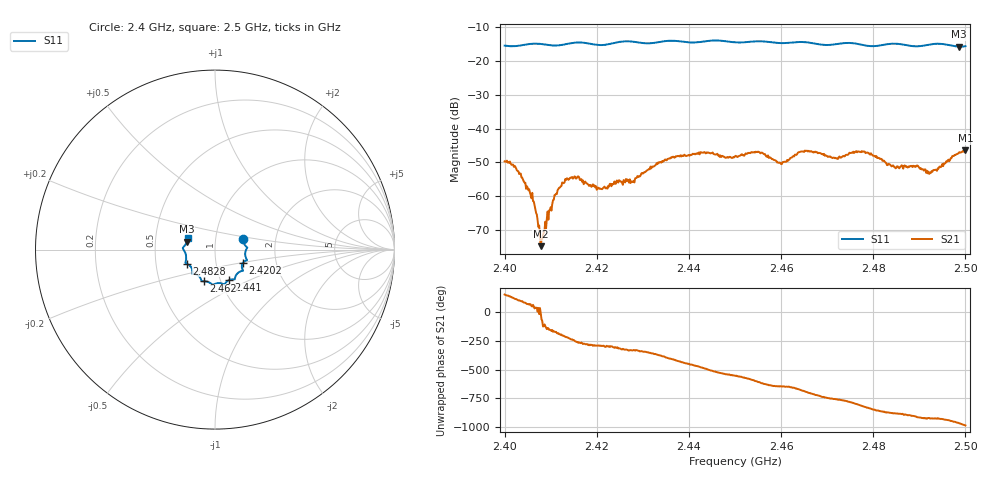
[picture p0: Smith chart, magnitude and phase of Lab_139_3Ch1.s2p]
# Hz S RI R 50
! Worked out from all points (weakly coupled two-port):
!   601 points, 2.4 GHz to 2.5 GHz, reference 50 ohm
!   highest |S21| = -46.41 dB at 2.5 GHz (marker M1); lowest = -74.7 dB at 2.4078 GHz (marker M2)
!   lowest |S11| = -15.8 dB at 2.4987 GHz (marker M3), VSWR 1.39, Z = 36.3 + j3.24 ohm
!   |S11| at or under -10 dB: start of sweep to end of sweep
!   S12 and S22 are empty: the file has one direction only
!   S11 on the Smith chart (normalised r, x): 2.4 GHz: 1.36, +0.17; 2.4202 GHz: 1.36, -0.20; 2.441 GHz: 1.10, -0.39; 2.462 GHz: 0.83, -0.30; 2.4828 GHz: 0.72, -0.12; 2.5 GHz: 0.73, +0.09
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2.4e9  0.1572 0.061  -0.00298 0.00138  0 0  0 0
2.402333e9  0.1622 0.0334  -0.00117 0.00246  0 0  0 0
2.4055e9  0.1779 0.0136  0.000362 0.00108  0 0  0 0
2.4065e9  0.1798 0.0117  0.000615 0.000413  0 0  0 0
2.407833e9  0.1783 0.00799  0.000183 -1.79e-05  0 0  0 0
2.412e9  0.1683 -0.0298  -0.00132 0.000287  0 0  0 0
2.414e9  0.1739 -0.0495  -0.0012 0.00132  0 0  0 0
2.416667e9  0.1775 -0.0592  -0.000151 0.00179  0 0  0 0
2.420167e9  0.1569 -0.0719  0.000495 0.00125  0 0  0 0
2.427833e9  0.1521 -0.1183  0.00144 0.000743  0 0  0 0
2.433333e9  0.1129 -0.152  0.00309 -0.000701  0 0  0 0
2.441e9  0.0773 -0.1705  -0.000969 -0.00409  0 0  0 0
2.45e9  0.0272 -0.1866  -0.00378 0.000912  0 0  0 0
2.462e9  -0.0614 -0.176  0.00157 0.00333  0 0  0 0
2.466667e9  -0.0774 -0.1672  0.00452 0.000694  0 0  0 0
2.471833e9  -0.1127 -0.1361  0.00287 -0.00234  0 0  0 0
2.477667e9  -0.1263 -0.1177  -0.000763 -0.00449  0 0  0 0
2.482833e9  -0.1579 -0.0779  -0.00284 -0.00122  0 0  0 0
2.483333e9  -0.1608 -0.0765  -0.00276 -0.00122  0 0  0 0
2.492333e9  -0.1756 -0.000155  -0.00195 0.00109  0 0  0 0
2.498667e9  -0.1569 0.0434  -0.00148 0.00423  0 0  0 0
2.5e9  -0.1532 0.0619  -7.65e-05 0.00478  0 0  0 0
